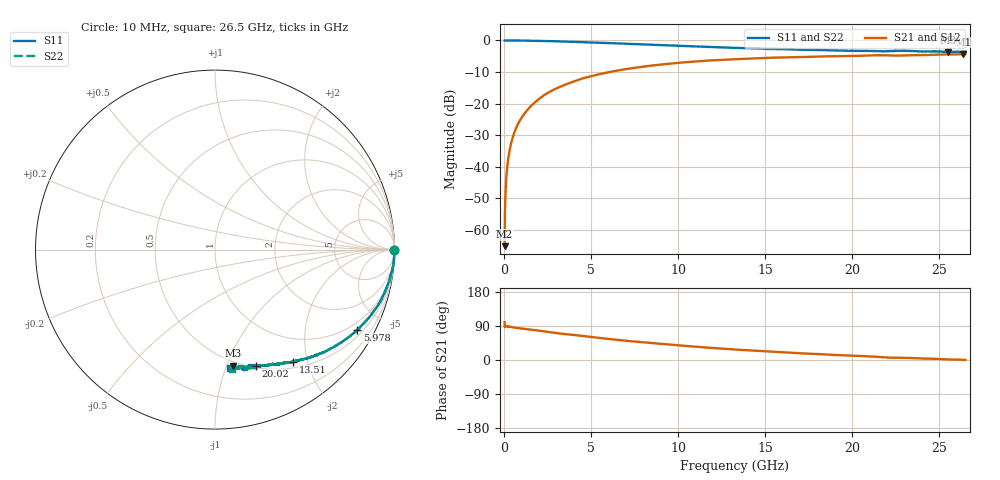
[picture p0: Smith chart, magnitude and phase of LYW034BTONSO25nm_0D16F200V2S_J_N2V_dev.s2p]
!Keysight Technologies,N5222B,MY61253708,A.15.00.15
!Date: Wednesday, June 19, 2024 08:37:31
!Correction: S11(C  2-Port  )
!S21(C  2-Port  )
!S12(C  2-Port  )
!S22(C  2-Port  )
!S2P File: Measurements: S11, S21, S12, S22:
# Hz S  RI  R 50
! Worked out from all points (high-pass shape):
!   2651 points, 10 MHz to 26.5 GHz, reference 50 ohm
!   highest |S21| = -4.30 dB at 26.38 GHz (marker M1); lowest = -65.1 dB at 10 MHz (marker M2)
!   |S21| within 3 dB of the highest: 9.553 GHz to end of sweep
!   lowest |S11| = -3.7 dB at 25.49 GHz (marker M3), VSWR 4.79, Z = 23.2 - j52.5 ohm
!   |S11| at or under -10 dB: nowhere
!   |S22| runs from -3.6 to 0.0 dB; largest |S21 - S12| = 0.01
!   S11 on the Smith chart (normalised r, x): 10 MHz: open; 5.978 GHz: 0.71, -3.68; 13.51 GHz: 0.60, -1.76; 20.02 GHz: 0.52, -1.28; 26.5 GHz: 0.44, -1.04
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1e7  0.9988 -0.00233  -9.5e-05 0.000548  -0.000219 0.000828  0.9987 -0.00122
6.997736e7  0.9999 -0.00714  9.65e-05 0.00438  3.37e-05 0.00437  0.9995 -0.00671
1.599434e8  0.9996 -0.0162  0.000241 0.00992  0.000245 0.00992  0.9993 -0.0154
1.999283e8  0.9996 -0.0196  0.000383 0.0124  0.000369 0.0124  0.9994 -0.0189
2.599057e8  0.9991 -0.0256  0.000566 0.0161  0.000592 0.0161  0.9989 -0.0247
3.598679e8  0.9983 -0.0353  0.00109 0.0222  0.00107 0.0222  0.9985 -0.0344
4.898189e8  0.9973 -0.0476  0.00198 0.0301  0.00199 0.0302  0.9974 -0.0464
8.49683e8  0.9938 -0.0811  0.0055 0.0516  0.00555 0.0517  0.9938 -0.0806
1.43946e9  0.9793 -0.1366  0.0139 0.0858  0.0139 0.0857  0.9822 -0.1329
2.269147e9  0.9583 -0.2058  0.0331 0.1311  0.0333 0.1312  0.96 -0.2053
3.128823e9  0.9283 -0.2744  0.0614 0.1706  0.0614 0.1706  0.9293 -0.2724
4.428332e9  0.8697 -0.3636  0.1096 0.2217  0.1096 0.2219  0.8721 -0.3603
5.977747e9  0.7921 -0.4474  0.1778 0.2596  0.1783 0.2594  0.7955 -0.4466
8.846664e9  0.6427 -0.5525  0.3 0.2822  0.3005 0.2818  0.6459 -0.5502
1.3255e10  0.4449 -0.6212  0.4469 0.2349  0.4473 0.2342  0.4503 -0.62
1.35149e10  0.4336 -0.6236  0.4527 0.2302  0.4531 0.2299  0.4406 -0.6211
1.767333e10  0.2914 -0.6446  0.5292 0.1547  0.5306 0.1528  0.3043 -0.6446
2.002245e10  0.2287 -0.6463  0.5572 0.1123  0.5583 0.1092  0.2434 -0.6502
2.209166e10  0.1904 -0.647  0.5765 0.065  0.5761 0.0633  0.1861 -0.655
2.549038e10  0.0985 -0.6468  0.6003 0.0163  0.5995 0.0184  0.1187 -0.6574
2.638005e10  0.0875 -0.6586  0.6092 0.0032  0.6025 0.00567  0.0958 -0.6646
2.65e10  0.0846 -0.6608  0.609 0.00291  0.6062 0.00117  0.0955 -0.6643
